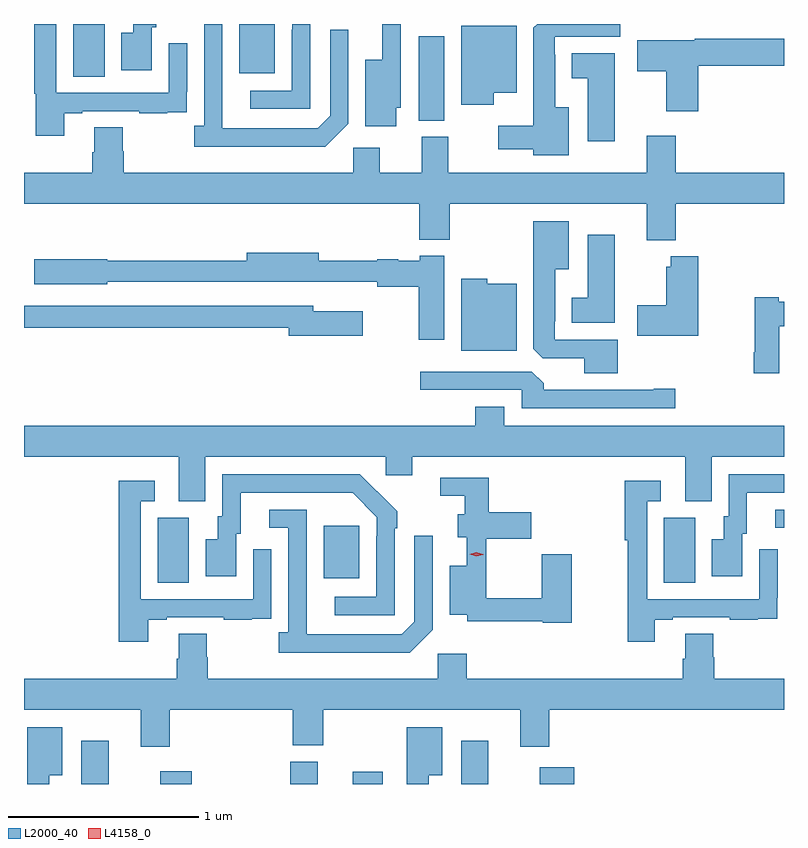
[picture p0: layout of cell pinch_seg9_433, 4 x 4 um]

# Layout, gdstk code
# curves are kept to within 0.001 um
import gdstk
lib = gdstk.Library(unit=1e-6, precision=1e-09)
def R(c, l, rs):  # rectangles x0, y0, x1, y1
    for r in rs: c.add(gdstk.rectangle(r[:2], r[2:], *l))
def P(c, l, *ps):  # polygons
    for p in ps: c.add(gdstk.Polygon(p, *l))
L2000_40 = (2000, 40)
L4158_0 = (4158, 0)

pinch_seg9_433 = lib.new_cell('pinch_seg9_433')
R(pinch_seg9_433, L2000_40, [(213.758,1204.022,213.901,1204.249), (214.172,1204.022,214.34,1204.09), (214.856,1204.022,215.002,1204.14), (215.186,1204.022,215.344,1204.087), (215.756,1204.022,215.899,1204.249), (216.17,1204.022,216.353,1204.111), (214.16,1205.08,214.324,1205.424), (216.824,1205.08,216.988,1205.424), (215.033,1205.105,215.221,1205.38), (217.41,1205.37,217.456,1205.466), (215.534,1207.513,215.668,1207.957), (213.716,1207.744,213.88,1208.022), (214.589,1207.763,214.777,1208.022)])
P(pinch_seg9_433, L2000_40, [(215.163,1207.497),(215.163,1207.993),(215.067,1207.993),(215.067,1207.539),(215.001,1207.473),(214.5,1207.473),(214.5,1208.022),(214.404,1208.022),(214.404,1207.486),(214.353,1207.486),(214.353,1207.376),(215.042,1207.376)],
  [(214.129,1208.004),(214.153,1208.004),(214.153,1208.022),(214.031,1208.022),(214.031,1207.975),(213.968,1207.975),(213.968,1207.779),(214.129,1207.779)],
  [(214.962,1208.022),(214.869,1208.022),(214.869,1207.991),(214.866,1207.991),(214.866,1207.671),(214.647,1207.671),(214.647,1207.575),(214.962,1207.575)],
  [(215.416,1207.581),(215.439,1207.581),(215.439,1208.022),(215.342,1208.022),(215.342,1207.834),(215.252,1207.834),(215.252,1207.484),(215.416,1207.484)],
  [(216.322,1207.585),(216.253,1207.585),(216.253,1207.859),(216.249,1207.859),(216.249,1207.956),(216.593,1207.956),(216.593,1208.022),(216.156,1208.022),(216.137,1208.003),(216.137,1207.486),(215.952,1207.486),(215.952,1207.364),(216.137,1207.364),(216.137,1207.331),(216.322,1207.331)],
  [(213.667,1207.551),(213.763,1207.551),(213.763,1207.563),(214.063,1207.563),(214.063,1207.551),(214.211,1207.551),(214.211,1207.557),(214.313,1207.557),(214.313,1207.666),(214.314,1207.666),(214.314,1207.921),(214.218,1207.921),(214.218,1207.659),(213.627,1207.659),(213.627,1208.022),(213.511,1208.022),(213.511,1207.656),(213.519,1207.656),(213.519,1207.434),(213.667,1207.434)],
  [(215.929,1207.661),(216.049,1207.661),(216.049,1208.014),(215.756,1208.014),(215.756,1207.598),(215.929,1207.598)],
  [(217.004,1207.802),(217.456,1207.802),(217.456,1207.944),(216.987,1207.944),(216.987,1207.936),(216.684,1207.936),(216.684,1207.774),(216.836,1207.774),(216.836,1207.563),(217.004,1207.563)],
  [(216.565,1207.867),(216.338,1207.867),(216.338,1207.736),(216.422,1207.736),(216.422,1207.404),(216.565,1207.404)],
  [(215.329,1207.372),(215.19,1207.372),(215.19,1207.24),(213.98,1207.24),(213.98,1207.353),(213.975,1207.353),(213.975,1207.478),(213.827,1207.478),(213.827,1207.346),(213.815,1207.346),(213.815,1207.24),(213.456,1207.24),(213.456,1207.076),(215.537,1207.076),(215.537,1206.887),(215.697,1206.887),(215.697,1207.076),(216.734,1207.076),(216.734,1206.884),(216.887,1206.884),(216.887,1207.076),(217.456,1207.076),(217.456,1207.24),(216.887,1207.24),(216.887,1207.435),(216.734,1207.435),(216.734,1207.24),(215.689,1207.24),(215.689,1207.428),(215.549,1207.428),(215.549,1207.24),(215.329,1207.24)],
  [(216.58,1206.36),(216.249,1206.36),(216.249,1206.457),(216.253,1206.457),(216.253,1206.731),(216.322,1206.731),(216.322,1206.985),(216.137,1206.985),(216.137,1206.313),(216.186,1206.264),(216.404,1206.264),(216.404,1206.185),(216.58,1206.185)],
  [(216.565,1206.913),(216.422,1206.913),(216.422,1206.58),(216.338,1206.58),(216.338,1206.449),(216.565,1206.449)],
  [(215.668,1206.802),(215.538,1206.802),(215.538,1206.775),(215.427,1206.775),(215.427,1206.783),(215.316,1206.783),(215.316,1206.775),(215.008,1206.775),(215.008,1206.817),(214.628,1206.817),(214.628,1206.775),(213.894,1206.775),(213.894,1206.783),(213.51,1206.783),(213.51,1206.653),(213.894,1206.653),(213.894,1206.666),(214.732,1206.666),(214.732,1206.665),(215.316,1206.665),(215.316,1206.638),(215.534,1206.638),(215.534,1206.36),(215.668,1206.36)],
  [(217.004,1206.799),(216.859,1206.799),(216.859,1206.745),(216.836,1206.745),(216.836,1206.543),(216.684,1206.543),(216.684,1206.38),(217.004,1206.38)],
  [(216.049,1206.655),(215.895,1206.655),(215.895,1206.682),(215.756,1206.682),(215.756,1206.302),(216.049,1206.302)],
  [(217.432,1206.431),(217.456,1206.431),(217.456,1206.561),(217.428,1206.561),(217.428,1206.584),(217.303,1206.584),(217.303,1206.295),(217.298,1206.295),(217.298,1206.183),(217.432,1206.183)],
  [(215.239,1206.511),(214.978,1206.511),(214.978,1206.54),(213.456,1206.54),(213.456,1206.424),(214.85,1206.424),(214.85,1206.382),(215.239,1206.382)],
  [(216.883,1206.101),(216.77,1206.101),(216.77,1206.096),(216.191,1206.096),(216.191,1206.13),(216.129,1206.192),(215.541,1206.192),(215.541,1206.096),(216.075,1206.096),(216.075,1206),(216.883,1206)],
  [(214.411,1205.744),(215.361,1205.744),(215.361,1205.646),(215.5,1205.646),(215.5,1205.744),(216.935,1205.744),(216.935,1205.509),(217.075,1205.509),(217.075,1205.744),(217.456,1205.744),(217.456,1205.908),(215.983,1205.908),(215.983,1206.007),(215.831,1206.007),(215.831,1205.908),(213.456,1205.908),(213.456,1205.744),(214.271,1205.744),(214.271,1205.509),(214.411,1205.509)],
  [(215.406,1205.369),(215.421,1205.369),(215.421,1205.457),(215.224,1205.652),(214.5,1205.652),(214.5,1205.43),(214.475,1205.43),(214.475,1205.311),(214.412,1205.311),(214.412,1205.115),(214.573,1205.115),(214.573,1205.34),(214.597,1205.34),(214.597,1205.556),(215.185,1205.556),(215.313,1205.427),(215.313,1205.327),(215.31,1205.327),(215.31,1205.007),(215.091,1205.007),(215.091,1204.911),(215.406,1204.911)],
  [(217.237,1205.34),(217.261,1205.34),(217.261,1205.556),(217.456,1205.556),(217.456,1205.652),(217.164,1205.652),(217.164,1205.43),(217.139,1205.43),(217.139,1205.311),(217.076,1205.311),(217.076,1205.115),(217.237,1205.115)],
  [(216.34,1205.23),(216.182,1205.23),(216.182,1204.999),(215.888,1204.999),(215.888,1205.314),(216.127,1205.314),(216.127,1205.451),(215.903,1205.451),(215.903,1205.634),(215.646,1205.634),(215.646,1205.538),(215.775,1205.538),(215.775,1205.443),(215.738,1205.443),(215.738,1205.321),(215.786,1205.321),(215.786,1205.17),(215.696,1205.17),(215.696,1204.913),(215.79,1204.913),(215.79,1204.878),(216.186,1204.878),(216.186,1204.87),(216.34,1204.87)],
  [(214.111,1204.887),(214.207,1204.887),(214.207,1204.899),(214.507,1204.899),(214.507,1204.887),(214.655,1204.887),(214.655,1204.893),(214.757,1204.893),(214.757,1205.002),(214.758,1205.002),(214.758,1205.257),(214.662,1205.257),(214.662,1204.995),(214.071,1204.995),(214.071,1205.511),(214.144,1205.511),(214.144,1205.617),(213.955,1205.617),(213.955,1204.77),(214.111,1204.77)],
  [(216.775,1204.887),(216.871,1204.887),(216.871,1204.899),(217.171,1204.899),(217.171,1204.887),(217.319,1204.887),(217.319,1204.893),(217.421,1204.893),(217.421,1205.002),(217.422,1205.002),(217.422,1205.257),(217.326,1205.257),(217.326,1204.995),(216.735,1204.995),(216.735,1205.511),(216.808,1205.511),(216.808,1205.617),(216.619,1205.617),(216.619,1205.304),(216.634,1205.304),(216.634,1204.77),(216.775,1204.77)],
  [(215.607,1204.833),(215.607,1205.329),(215.511,1205.329),(215.511,1204.875),(215.445,1204.809),(214.945,1204.809),(214.944,1205.466),(214.746,1205.466),(214.746,1205.37),(214.848,1205.37),(214.848,1204.822),(214.797,1204.822),(214.797,1204.712),(215.486,1204.712)],
  [(217.083,1204.689),(217.083,1204.814),(216.935,1204.814),(216.935,1204.682),(216.923,1204.682),(216.923,1204.576),(215.786,1204.576),(215.786,1204.708),(215.634,1204.708),(215.634,1204.576),(214.424,1204.576),(214.424,1204.689),(214.419,1204.689),(214.419,1204.814),(214.271,1204.814),(214.271,1204.682),(214.259,1204.682),(214.259,1204.576),(213.456,1204.576),(213.456,1204.412),(214.07,1204.412),(214.07,1204.218),(214.223,1204.218),(214.223,1204.412),(214.871,1204.412),(214.871,1204.225),(215.031,1204.225),(215.031,1204.412),(216.068,1204.412),(216.068,1204.218),(216.221,1204.218),(216.221,1204.412),(217.456,1204.412),(217.456,1204.576),(217.088,1204.576),(217.088,1204.689)],
  [(215.587,1204.067),(215.656,1204.067),(215.656,1204.321),(215.471,1204.321),(215.471,1204.022),(215.587,1204.022)],
  [(213.589,1204.067),(213.658,1204.067),(213.658,1204.321),(213.473,1204.321),(213.473,1204.022),(213.589,1204.022)])
P(pinch_seg9_433, L4158_0, [(215.836,1205.221),(215.801,1205.232),(215.8,1205.232),(215.801,1205.232),(215.837,1205.241),(215.872,1205.23),(215.872,1205.229),(215.872,1205.229)])

lib.write_gds('pinch_seg9_433.gds')
